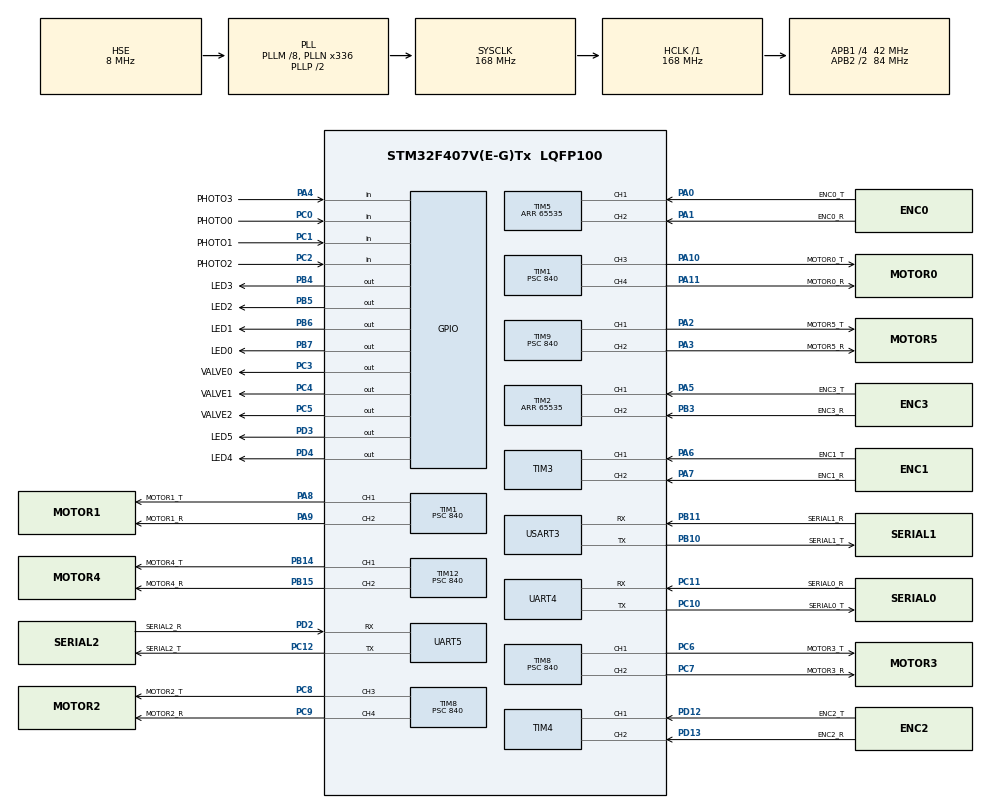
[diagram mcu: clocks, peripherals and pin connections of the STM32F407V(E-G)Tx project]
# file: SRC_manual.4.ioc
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Mcu.Family=STM32F4
Mcu.Name=STM32F407V(E-G)Tx
Mcu.Package=LQFP100
NVIC.PriorityGroup=NVIC_PRIORITYGROUP_4
NVIC.TIM2_IRQn=true\:0\:0\:false\:false\:true\:true\:true\:true
NVIC.TIM3_IRQn=true\:0\:0\:false\:false\:true\:true\:true\:true
NVIC.TIM4_IRQn=true\:0\:0\:false\:false\:true\:true\:true\:true
NVIC.TIM5_IRQn=true\:0\:0\:false\:false\:true\:true\:true\:true
PA0-WKUP.GPIO_Label=ENC0_T
PA0-WKUP.Signal=S_TIM5_CH1
PA1.GPIO_Label=ENC0_R
PA1.Signal=S_TIM5_CH2
PA10.GPIO_Label=MOTOR0_T
PA10.Signal=S_TIM1_CH3
PA11.GPIO_Label=MOTOR0_R
PA11.Signal=S_TIM1_CH4
PA2.GPIO_Label=MOTOR5_T
PA2.Signal=S_TIM9_CH1
PA3.GPIO_Label=MOTOR5_R
PA3.Signal=S_TIM9_CH2
PA4.GPIO_Label=PHOTO3
PA4.GPIO_PuPd=GPIO_PULLUP
PA4.Signal=GPIO_Input
PA5.GPIO_Label=ENC3_T
PA5.Signal=S_TIM2_CH1_ETR
PA6.GPIO_Label=ENC1_T
PA6.Signal=S_TIM3_CH1
PA7.GPIO_Label=ENC1_R
PA7.Signal=S_TIM3_CH2
PA8.GPIO_Label=MOTOR1_T
PA8.Signal=S_TIM1_CH1
PA9.GPIO_Label=MOTOR1_R
PA9.Signal=S_TIM1_CH2
PB10.GPIO_Label=SERIAL1_T
PB10.Mode=Multiprocessor_communication
PB10.Signal=USART3_TX
PB11.GPIO_Label=SERIAL1_R
PB11.Mode=Multiprocessor_communication
PB11.Signal=USART3_RX
PB14.GPIO_Label=MOTOR4_T
PB14.Signal=S_TIM12_CH1
PB15.GPIO_Label=MOTOR4_R
PB15.Signal=S_TIM12_CH2
PB3.GPIO_Label=ENC3_R
PB3.Signal=S_TIM2_CH2
PB4.GPIO_Label=LED3
PB4.Signal=GPIO_Output
PB5.GPIO_Label=LED2
PB5.Signal=GPIO_Output
PB6.GPIO_Label=LED1
PB6.Signal=GPIO_Output
PB7.GPIO_Label=LED0
PB7.Signal=GPIO_Output
PC0.GPIO_Label=PHOTO0
PC0.GPIO_PuPd=GPIO_PULLUP
PC0.Signal=GPIO_Input
PC1.GPIO_Label=PHOTO1
PC1.GPIO_PuPd=GPIO_PULLUP
PC1.Signal=GPIO_Input
PC10.GPIO_Label=SERIAL0_T
PC10.Mode=Multiprocessor_communication
PC10.Signal=UART4_TX
PC11.GPIO_Label=SERIAL0_R
PC11.Mode=Multiprocessor_communication
PC11.Signal=UART4_RX
PC12.GPIO_Label=SERIAL2_T
PC12.Mode=Multiprocessor_communication
PC12.Signal=UART5_TX
PC2.GPIO_Label=PHOTO2
PC2.GPIO_PuPd=GPIO_PULLUP
PC2.Signal=GPIO_Input
PC3.GPIO_Label=VALVE0
PC3.Signal=GPIO_Output
PC4.GPIO_Label=VALVE1
PC4.Signal=GPIO_Output
PC5.GPIO_Label=VALVE2
PC5.Signal=GPIO_Output
PC6.GPIO_Label=MOTOR3_T
PC6.Signal=S_TIM8_CH1
PC7.GPIO_Label=MOTOR3_R
PC7.Signal=S_TIM8_CH2
PC8.GPIO_Label=MOTOR2_T
PC8.Signal=S_TIM8_CH3
PC9.GPIO_Label=MOTOR2_R
PC9.Signal=S_TIM8_CH4
PD12.GPIO_Label=ENC2_T
PD12.Signal=S_TIM4_CH1
PD13.GPIO_Label=ENC2_R
PD13.Signal=S_TIM4_CH2
PD2.GPIO_Label=SERIAL2_R
PD2.Mode=Multiprocessor_communication
PD2.Signal=UART5_RX
PD3.GPIO_Label=LED5
PD3.Signal=GPIO_Output
PD4.GPIO_Label=LED4
PD4.Signal=GPIO_Output
PH0-OSC_IN.Mode=HSE-External-Oscillator
PH0-OSC_IN.Signal=RCC_OSC_IN
PH1-OSC_OUT.Mode=HSE-External-Oscillator
PH1-OSC_OUT.Signal=RCC_OSC_OUT
ProjectManager.HeapSize=0x200
ProjectManager.StackSize=0x400
ProjectManager.TargetToolchain=STM32CubeIDE
RCC.48MHZClocksFreq_Value=84000000
RCC.AHBFreq_Value=168000000
RCC.APB1CLKDivider=RCC_HCLK_DIV4
RCC.APB1Freq_Value=42000000
RCC.APB1TimFreq_Value=84000000
RCC.APB2CLKDivider=RCC_HCLK_DIV2
RCC.APB2Freq_Value=84000000
RCC.APB2TimFreq_Value=168000000
RCC.CortexFreq_Value=168000000
RCC.HCLKFreq_Value=168000000
RCC.HSE_VALUE=8000000
RCC.HSI_VALUE=16000000
RCC.LSE_VALUE=32768
RCC.PLLM=8
RCC.PLLN=336
RCC.PLLSourceVirtual=RCC_PLLSOURCE_HSE
RCC.SYSCLKFreq_VALUE=168000000
RCC.SYSCLKSource=RCC_SYSCLKSOURCE_PLLCLK
RCC.VCOOutputFreq_Value=336000000
SH.S_TIM12_CH1.0=TIM12_CH1,PWM Generation1 CH1
SH.S_TIM12_CH2.0=TIM12_CH2,PWM Generation2 CH2
SH.S_TIM1_CH1.0=TIM1_CH1,PWM Generation1 CH1
SH.S_TIM1_CH2.0=TIM1_CH2,PWM Generation2 CH2
SH.S_TIM1_CH3.0=TIM1_CH3,PWM Generation3 CH3
SH.S_TIM1_CH4.0=TIM1_CH4,PWM Generation4 CH4
SH.S_TIM2_CH1_ETR.0=TIM2_CH1,Encoder_Interface
SH.S_TIM2_CH2.0=TIM2_CH2,Encoder_Interface
SH.S_TIM3_CH1.0=TIM3_CH1,Encoder_Interface
SH.S_TIM3_CH2.0=TIM3_CH2,Encoder_Interface
SH.S_TIM4_CH1.0=TIM4_CH1,Encoder_Interface
SH.S_TIM4_CH2.0=TIM4_CH2,Encoder_Interface
SH.S_TIM5_CH1.0=TIM5_CH1,Encoder_Interface
SH.S_TIM5_CH2.0=TIM5_CH2,Encoder_Interface
SH.S_TIM8_CH1.0=TIM8_CH1,PWM Generation1 CH1
SH.S_TIM8_CH2.0=TIM8_CH2,PWM Generation2 CH2
SH.S_TIM8_CH3.0=TIM8_CH3,PWM Generation3 CH3
SH.S_TIM8_CH4.0=TIM8_CH4,PWM Generation4 CH4
SH.S_TIM9_CH1.0=TIM9_CH1,PWM Generation1 CH1
SH.S_TIM9_CH2.0=TIM9_CH2,PWM Generation2 CH2
TIM1.Channel-PWM\ Generation1\ CH1=TIM_CHANNEL_1
TIM1.Channel-PWM\ Generation2\ CH2=TIM_CHANNEL_2
TIM1.Channel-PWM\ Generation3\ CH3=TIM_CHANNEL_3
TIM1.Channel-PWM\ Generation4\ CH4=TIM_CHANNEL_4
TIM1.Period=1000
TIM1.Prescaler=840
TIM12.Channel-PWM\ Generation1\ CH1=TIM_CHANNEL_1
TIM12.Channel-PWM\ Generation2\ CH2=TIM_CHANNEL_2
TIM12.Period=1000
TIM12.Prescaler=840
TIM2.EncoderMode=TIM_ENCODERMODE_TI12
TIM2.Period=65535
TIM3.EncoderMode=TIM_ENCODERMODE_TI12
TIM4.EncoderMode=TIM_ENCODERMODE_TI12
TIM5.EncoderMode=TIM_ENCODERMODE_TI12
TIM5.Period=65535
TIM8.Channel-PWM\ Generation1\ CH1=TIM_CHANNEL_1
TIM8.Channel-PWM\ Generation2\ CH2=TIM_CHANNEL_2
TIM8.Channel-PWM\ Generation3\ CH3=TIM_CHANNEL_3
TIM8.Channel-PWM\ Generation4\ CH4=TIM_CHANNEL_4
TIM8.Period=1000
TIM8.Prescaler=840
TIM9.Channel-PWM\ Generation1\ CH1=TIM_CHANNEL_1
TIM9.Channel-PWM\ Generation2\ CH2=TIM_CHANNEL_2
TIM9.Period=1000
TIM9.Prescaler=840
UART4.VirtualMode=Asynchronous
UART5.VirtualMode=Asynchronous
USART3.VirtualMode=VM_ASYNC
VP_TIM12_VS_ClockSourceINT.Mode=Internal
VP_TIM1_VS_ClockSourceINT.Mode=Internal
VP_TIM8_VS_ClockSourceINT.Mode=Internal
VP_TIM9_VS_ClockSourceINT.Mode=Internal
board=custom

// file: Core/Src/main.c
/* USER CODE BEGIN Header */
/**
  ******************************************************************************
  * @file           : main.c
  * @brief          : Main program body
  ******************************************************************************
  * @attention
  *
  * Copyright (c) 2024 STMicroelectronics.
  * All rights reserved.
  *
  * This software is licensed under terms that can be found in the LICENSE file
  * in the root directory of this software component.
  * If no LICENSE file comes with this software, it is provided AS-IS.
  *
  ******************************************************************************
  */
/* USER CODE END Header */
#include "main.h"
#include "tim.h"
#include "usart.h"
#include "gpio.h"

/* USER CODE BEGIN Includes */
#include "stdio.h"
#include "string.h"
/* USER CODE END Includes */

void SystemClock_Config(void);

/* USER CODE BEGIN 0 */
int overflowcnt0 = 0;
int overflowcnt1 = 0;
int overflowcnt2 = 0;
int overflowcnt3 = 0;
void HAL_TIM_PeriodElapsedCallback(TIM_HandleTypeDef* htim){
	if(htim->Instance == TIM5){
		__HAL_TIM_CLEAR_FLAG(&htim5, TIM_IT_UPDATE);
		if(__HAL_TIM_IS_TIM_COUNTING_DOWN(&htim5)){
			overflowcnt0 --;
		}else{
			overflowcnt0 ++;
		}
	}
	if(htim->Instance == TIM3){
		__HAL_TIM_CLEAR_FLAG(&htim3, TIM_IT_UPDATE);
		if(__HAL_TIM_IS_TIM_COUNTING_DOWN(&htim3)){
			overflowcnt1 --;
		}else{
			overflowcnt1 ++;
		}
	}
	if(htim->Instance == TIM4){
		__HAL_TIM_CLEAR_FLAG(&htim4, TIM_IT_UPDATE);
		if(__HAL_TIM_IS_TIM_COUNTING_DOWN(&htim4)){
			overflowcnt2 --;
		}else{
			overflowcnt2 ++;
		}
	}
	if(htim->Instance == TIM2){
		__HAL_TIM_CLEAR_FLAG(&htim2, TIM_IT_UPDATE);
		if(__HAL_TIM_IS_TIM_COUNTING_DOWN(&htim2)){
			overflowcnt3 --;
		}else{
			overflowcnt3 ++;
		}
	}
}
/* USER CODE END 0 */

int main(void)
{

  /* MCU Configuration--------------------------------------------------------*/

  /* Reset of all peripherals, Initializes the Flash interface and the Systick. */
  HAL_Init();

  /* Configure the system clock */
  SystemClock_Config();

  /* Initialize all configured peripherals */
  MX_GPIO_Init();
  MX_TIM1_Init();
  MX_TIM2_Init();
  MX_TIM3_Init();
  MX_TIM4_Init();
  MX_TIM5_Init();
  MX_TIM8_Init();
  MX_TIM9_Init();
  MX_TIM12_Init();
  MX_UART4_Init();
  MX_UART5_Init();
  MX_USART3_UART_Init();
  /* USER CODE BEGIN 2 */

  HAL_TIM_PWM_Start(&htim1, TIM_CHANNEL_3);
  HAL_TIM_PWM_Start(&htim1, TIM_CHANNEL_4);
  HAL_TIM_PWM_Start(&htim1, TIM_CHANNEL_1);
  HAL_TIM_PWM_Start(&htim1, TIM_CHANNEL_2);
  HAL_TIM_PWM_Start(&htim8, TIM_CHANNEL_3);
  HAL_TIM_PWM_Start(&htim8, TIM_CHANNEL_4);
  HAL_TIM_PWM_Start(&htim8, TIM_CHANNEL_1);
  HAL_TIM_PWM_Start(&htim8, TIM_CHANNEL_2);
  HAL_TIM_PWM_Start(&htim12, TIM_CHANNEL_1);
  HAL_TIM_PWM_Start(&htim12, TIM_CHANNEL_2);
  HAL_TIM_PWM_Start(&htim9, TIM_CHANNEL_1);
  HAL_TIM_PWM_Start(&htim9, TIM_CHANNEL_2);

  HAL_TIM_Encoder_Start(&htim5,TIM_CHANNEL_ALL);
  HAL_TIM_Base_Start_IT(&htim5);
  HAL_TIM_Encoder_Start(&htim3,TIM_CHANNEL_ALL);
  HAL_TIM_Base_Start_IT(&htim3);
  HAL_TIM_Encoder_Start(&htim4,TIM_CHANNEL_ALL);
  HAL_TIM_Base_Start_IT(&htim4);
  HAL_TIM_Encoder_Start(&htim2,TIM_CHANNEL_ALL);
  HAL_TIM_Base_Start_IT(&htim2);
  uint32_t cnt0;
  uint32_t cnt1;
  uint32_t cnt2;
  uint32_t cnt3;
  char scnt0[100];
  char scnt1[100];
  char scnt2[100];
  char scnt3[100];
  overflowcnt0 = 0;
  overflowcnt1 = 0;
  overflowcnt2 = 0;
  overflowcnt3 = 0;

  /* USER CODE END 2 */

  /* Infinite loop */
  /* USER CODE BEGIN WHILE */
  while (1)
  {
	  //ENC
	  cnt0 = (long)(overflowcnt0)*0x10000 + (long)TIM5 ->CNT;
	  cnt1 = (long)(overflowcnt1)*0x10000 + (long)TIM3 ->CNT;
	  cnt2 = (long)(overflowcnt2)*0x10000 + (long)TIM4 ->CNT;
	  cnt3 = (long)(overflowcnt3)*0x10000 + (long)TIM2 ->CNT;
	  sprintf(scnt0, "ENC0:%d ", cnt0);
	  sprintf(scnt1, "ENC1:%d ", cnt1);
	  sprintf(scnt2, "ENC2:%d ", cnt2);
	  sprintf(scnt3, "ENC3:%d\r\n", cnt3);
	  HAL_UART_Transmit(&huart4, scnt0, strlen(scnt0) + 1, 0xFFFF);
	  HAL_UART_Transmit(&huart4, scnt1, strlen(scnt1) + 1, 0xFFFF);
	  HAL_UART_Transmit(&huart4, scnt2, strlen(scnt2) + 1, 0xFFFF);
	  HAL_UART_Transmit(&huart4, scnt3, strlen(scnt3) + 1, 0xFFFF);

	  //LED
	  HAL_GPIO_WritePin(GPIOB, GPIO_PIN_7, GPIO_PIN_SET);
	  HAL_GPIO_WritePin(GPIOB, GPIO_PIN_6, GPIO_PIN_SET);
	  HAL_GPIO_WritePin(GPIOB, GPIO_PIN_5, GPIO_PIN_SET);
	  HAL_GPIO_WritePin(GPIOB, GPIO_PIN_4, GPIO_PIN_SET);
	  HAL_GPIO_WritePin(GPIOD, GPIO_PIN_4, GPIO_PIN_SET);
	  HAL_GPIO_WritePin(GPIOD, GPIO_PIN_3, GPIO_PIN_SET);
	  HAL_Delay(100);
	  HAL_GPIO_WritePin(GPIOB, GPIO_PIN_7, GPIO_PIN_RESET);
	  HAL_GPIO_WritePin(GPIOB, GPIO_PIN_6, GPIO_PIN_RESET);
	  HAL_GPIO_WritePin(GPIOB, GPIO_PIN_5, GPIO_PIN_RESET);
	  HAL_GPIO_WritePin(GPIOB, GPIO_PIN_4, GPIO_PIN_RESET);
	  HAL_GPIO_WritePin(GPIOD, GPIO_PIN_4, GPIO_PIN_RESET);
	  HAL_GPIO_WritePin(GPIOD, GPIO_PIN_3, GPIO_PIN_RESET);
	  HAL_Delay(100);

	  //MD
	  __HAL_TIM_SET_COMPARE(&htim1,TIM_CHANNEL_3,180);
	  __HAL_TIM_SET_COMPARE(&htim1,TIM_CHANNEL_1,120);
	  __HAL_TIM_SET_COMPARE(&htim8,TIM_CHANNEL_3,222);
	  __HAL_TIM_SET_COMPARE(&htim8,TIM_CHANNEL_1,10);
	  __HAL_TIM_SET_COMPARE(&htim12,TIM_CHANNEL_1,250);
	  __HAL_TIM_SET_COMPARE(&htim9,TIM_CHANNEL_1,50);

	  //Photo
	  uint8_t p0 = HAL_GPIO_ReadPin(GPIOC, GPIO_PIN_0);
	  uint8_t p1 = HAL_GPIO_ReadPin(GPIOC, GPIO_PIN_1);
	  uint8_t p2 = HAL_GPIO_ReadPin(GPIOC, GPIO_PIN_2);
	  uint8_t p3 = HAL_GPIO_ReadPin(GPIOA, GPIO_PIN_4);
	  char ph0[10];
	  char ph1[10];
	  char ph2[10];
	  char ph3[10];
	  sprintf(ph0, "PHOTO0:%d ",p0);
	  sprintf(ph1, "PHOTO1:%d ",p1);
	  sprintf(ph2, "PHOTO2:%d ",p2);
	  sprintf(ph3, "PHOTO3:%d\r\n",p3);
	  HAL_UART_Transmit(&huart4, (uint8_t*)ph0, strlen(ph0), 0xFFFF);
	  HAL_UART_Transmit(&huart4, (uint8_t*)ph1, strlen(ph1), 0xFFFF);
	  HAL_UART_Transmit(&huart4, (uint8_t*)ph2, strlen(ph2), 0xFFFF);
	  HAL_UART_Transmit(&huart4, (uint8_t*)ph3, strlen(ph3), 0xFFFF);

	  //Valve
	  HAL_GPIO_WritePin(GPIOC, GPIO_PIN_3, GPIO_PIN_SET);
	  HAL_GPIO_WritePin(GPIOC, GPIO_PIN_4, GPIO_PIN_SET);
	  HAL_GPIO_WritePin(GPIOC, GPIO_PIN_5, GPIO_PIN_SET);

	  /* USER CODE END WHILE */

    /* USER CODE BEGIN 3 */
	//MOTOR

  }
  /* USER CODE END 3 */
}

void SystemClock_Config(void)
{
  RCC_OscInitTypeDef RCC_OscInitStruct = {0};
  RCC_ClkInitTypeDef RCC_ClkInitStruct = {0};

  /** Configure the main internal regulator output voltage
  */
  __HAL_RCC_PWR_CLK_ENABLE();
  __HAL_PWR_VOLTAGESCALING_CONFIG(PWR_REGULATOR_VOLTAGE_SCALE1);

  /** Initializes the RCC Oscillators according to the specified parameters
  * in the RCC_OscInitTypeDef structure.
  */
  RCC_OscInitStruct.OscillatorType = RCC_OSCILLATORTYPE_HSE;
  RCC_OscInitStruct.HSEState = RCC_HSE_ON;
  RCC_OscInitStruct.PLL.PLLState = RCC_PLL_ON;
  RCC_OscInitStruct.PLL.PLLSource = RCC_PLLSOURCE_HSE;
  RCC_OscInitStruct.PLL.PLLM = 8;
  RCC_OscInitStruct.PLL.PLLN = 336;
  RCC_OscInitStruct.PLL.PLLP = RCC_PLLP_DIV2;
  RCC_OscInitStruct.PLL.PLLQ = 4;
  if (HAL_RCC_OscConfig(&RCC_OscInitStruct) != HAL_OK)
  {
    Error_Handler();
  }

  /** Initializes the CPU, AHB and APB buses clocks
  */
  RCC_ClkInitStruct.ClockType = RCC_CLOCKTYPE_HCLK|RCC_CLOCKTYPE_SYSCLK
                              |RCC_CLOCKTYPE_PCLK1|RCC_CLOCKTYPE_PCLK2;
  RCC_ClkInitStruct.SYSCLKSource = RCC_SYSCLKSOURCE_PLLCLK;
  RCC_ClkInitStruct.AHBCLKDivider = RCC_SYSCLK_DIV1;
  RCC_ClkInitStruct.APB1CLKDivider = RCC_HCLK_DIV4;
  RCC_ClkInitStruct.APB2CLKDivider = RCC_HCLK_DIV2;

  if (HAL_RCC_ClockConfig(&RCC_ClkInitStruct, FLASH_LATENCY_5) != HAL_OK)
  {
    Error_Handler();
  }
}

void Error_Handler(void)
{
  __disable_irq();
  while (1)
  {
  }
}
